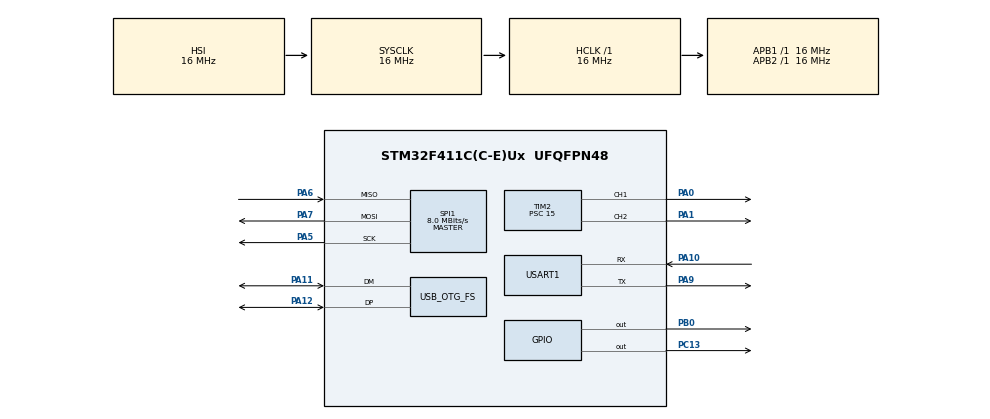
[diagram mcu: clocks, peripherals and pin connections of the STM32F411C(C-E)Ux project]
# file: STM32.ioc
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Mcu.Family=STM32F4
Mcu.Name=STM32F411C(C-E)Ux
Mcu.Package=UFQFPN48
NVIC.OTG_FS_IRQn=true\:0\:0\:false\:false\:true\:false\:true\:true
NVIC.PriorityGroup=NVIC_PRIORITYGROUP_4
PA0-WKUP.Signal=S_TIM2_CH1_ETR
PA1.Signal=S_TIM2_CH2
PA10.Mode=Asynchronous
PA10.Signal=USART1_RX
PA11.Mode=Device_Only
PA11.Signal=USB_OTG_FS_DM
PA12.Mode=Device_Only
PA12.Signal=USB_OTG_FS_DP
PA5.Mode=Full_Duplex_Master
PA5.Signal=SPI1_SCK
PA6.Mode=Full_Duplex_Master
PA6.Signal=SPI1_MISO
PA7.Mode=Full_Duplex_Master
PA7.Signal=SPI1_MOSI
PA9.Mode=Asynchronous
PA9.Signal=USART1_TX
PB0.PinState=GPIO_PIN_SET
PB0.Signal=GPIO_Output
PC13-ANTI_TAMP.Signal=GPIO_Output
PH0\ -\ OSC_IN.Mode=HSE-External-Oscillator
PH0\ -\ OSC_IN.Signal=RCC_OSC_IN
PH1\ -\ OSC_OUT.Mode=HSE-External-Oscillator
PH1\ -\ OSC_OUT.Signal=RCC_OSC_OUT
ProjectManager.HeapSize=0x200
ProjectManager.StackSize=0x400
ProjectManager.TargetToolchain=STM32CubeIDE
RCC.48MHZClocksFreq_Value=48000000
RCC.AHBFreq_Value=16000000
RCC.APB1Freq_Value=16000000
RCC.APB2Freq_Value=16000000
RCC.CortexFreq_Value=16000000
RCC.HSE_VALUE=25000000
RCC.HSI_VALUE=16000000
RCC.LSE_VALUE=32768
RCC.PLLM=15
RCC.PLLN=144
RCC.PLLQ=5
RCC.SYSCLKFreq_VALUE=16000000
RCC.VCOOutputFreq_Value=240000000
SH.S_TIM2_CH1_ETR.0=TIM2_CH1,PWM Generation1 CH1
SH.S_TIM2_CH2.0=TIM2_CH2,PWM Generation2 CH2
SPI1.BaudRatePrescaler=SPI_BAUDRATEPRESCALER_2
SPI1.CLKPhase=SPI_PHASE_1EDGE
SPI1.CLKPolarity=SPI_POLARITY_LOW
SPI1.CalculateBaudRate=8.0 MBits/s
SPI1.Direction=SPI_DIRECTION_2LINES
SPI1.Mode=SPI_MODE_MASTER
SPI1.VirtualType=VM_MASTER
TIM2.AutoReloadPreload=TIM_AUTORELOAD_PRELOAD_ENABLE
TIM2.Channel-PWM\ Generation1\ CH1=TIM_CHANNEL_1
TIM2.Channel-PWM\ Generation2\ CH2=TIM_CHANNEL_2
TIM2.Period=19999
TIM2.Prescaler=15
TIM2.Pulse-PWM\ Generation1\ CH1=1500
USART1.VirtualMode=VM_ASYNC
USB_DEVICE.CLASS_NAME_FS=CDC
USB_DEVICE.VirtualMode=Cdc
USB_DEVICE.VirtualModeFS=Cdc_FS
USB_OTG_FS.VirtualMode=Device_Only
VP_TIM2_VS_ClockSourceINT.Mode=Internal
VP_USB_DEVICE_VS_USB_DEVICE_CDC_FS.Mode=CDC_FS
board=custom

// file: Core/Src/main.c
/* USER CODE BEGIN Header */
/**
  ******************************************************************************
  * @file           : main.c
  * @brief          : Main program body — ICM-45686 reaction-wheel bicycle balancer
  ******************************************************************************
  * @attention
  *
  * Copyright (c) 2026 STMicroelectronics.
  * All rights reserved.
  *
  * This software is licensed under terms that can be found in the LICENSE file
  * in the root directory of this software component.
  * If no LICENSE file comes with this software, it is provided AS-IS.
  *
  ******************************************************************************
  */
/* USER CODE END Header */
#include "main.h"
#include "usb_device.h"

/* USER CODE BEGIN Includes */
#include <string.h>
#include <stdio.h>
#include <math.h>
#include <stdlib.h>
#include "usbd_cdc_if.h"

#define CS_LOW()  HAL_GPIO_WritePin(GPIOB, GPIO_PIN_0, GPIO_PIN_RESET)
#define CS_HIGH() HAL_GPIO_WritePin(GPIOB, GPIO_PIN_0, GPIO_PIN_SET)

#define ICM45686_REG_DATA_BASE        0x00
#define ICM45686_REG_PWR_MGMT0        0x10
#define ICM45686_REG_INT1_CONFIG0     0x16
#define ICM45686_REG_INT1_STATUS0     0x19
#define ICM45686_REG_ACCEL_CONFIG0    0x1B
#define ICM45686_REG_GYRO_CONFIG0     0x1C
#define ICM45686_REG_WHO_AM_I         0x72
#define ICM45686_REG_IREG_ADDR_15_8   0x7C
#define ICM45686_REG_IREG_ADDR_7_0    0x7D
#define ICM45686_REG_IREG_DATA        0x7E
#define ICM45686_SREG_CTRL_ADDR_H     0xA2
#define ICM45686_SREG_CTRL_ADDR_L     0x67
#define ICM45686_SREG_DATA_BIG_ENDIAN (1u << 1)
#define ICM45686_WHOAMI_VALUE         0xE9
#define ICM45686_ACCEL_2G_200HZ       0x48
#define ICM45686_GYRO_125DPS_200HZ    0x58
#define ICM45686_PWR_ACCEL_GYRO_LN    0x0F
#define ICM45686_INT1_CFG_EN_DRDY     (1u << 2)
#define ICM45686_INT1_STATUS_DRDY     (1u << 2)

#define ENCODE4(v, sign_c, whole_i, frac_i) do { \
    (sign_c)  = ((v) < 0.0f) ? '-' : '+';         \
    int _m    = (int)(fabsf(v) * 10000.0f);        \
    (whole_i) = _m / 10000;                        \
    (frac_i)  = _m % 10000;                        \
} while (0)

#define USB_RX_BUF_SIZE  128
/* USER CODE END Includes */

SPI_HandleTypeDef hspi1;
TIM_HandleTypeDef htim2;
UART_HandleTypeDef huart1;

/* USER CODE BEGIN PV */
volatile uint8_t  usb_rx_buf[USB_RX_BUF_SIZE];
volatile uint16_t usb_rx_head = 0;
volatile uint16_t usb_rx_tail = 0;

static char       usb_line[64];
static uint8_t    usb_line_idx = 0;
/* USER CODE END PV */

void SystemClock_Config(void);
static void MX_GPIO_Init(void);
static void MX_USART1_UART_Init(void);
static void MX_SPI1_Init(void);
static void MX_TIM2_Init(void);

/* USER CODE BEGIN 0 */

void USB_RxCallback(uint8_t *buf, uint32_t len)
{
    for (uint32_t i = 0; i < len; i++)
    {
        uint16_t next = (usb_rx_head + 1) % USB_RX_BUF_SIZE;
        if (next != usb_rx_tail)
        {
            usb_rx_buf[usb_rx_head] = buf[i];
            usb_rx_head = next;
        }
    }
}

void ODESC_Send(char *cmd)
{
    HAL_UART_Transmit(&huart1, (uint8_t*)cmd, strlen(cmd), 5);
}

void USB_Print(char *msg)
{
    CDC_Transmit_FS((uint8_t*)msg, strlen(msg));
}

void IMU_Write(uint8_t reg, uint8_t data)
{
    uint8_t tx[2] = { reg & 0x7F, data };
    CS_LOW();
    HAL_SPI_Transmit(&hspi1, tx, 2, HAL_MAX_DELAY);
    CS_HIGH();
}

uint8_t IMU_Read(uint8_t reg)
{
    uint8_t tx[2] = { reg | 0x80, 0x00 };
    uint8_t rx[2] = {0};
    CS_LOW();
    HAL_SPI_TransmitReceive(&hspi1, tx, rx, 2, HAL_MAX_DELAY);
    CS_HIGH();
    return rx[1];
}

void IMU_ReadMulti(uint8_t reg, uint8_t *buf, uint8_t len)
{
    uint8_t tx[len + 1];
    uint8_t rx[len + 1];
    tx[0] = reg | 0x80;
    memset(tx + 1, 0x00, len);
    CS_LOW();
    HAL_SPI_TransmitReceive(&hspi1, tx, rx, len + 1, HAL_MAX_DELAY);
    CS_HIGH();
    memcpy(buf, rx + 1, len);
}

void IMU_WriteIREG(uint8_t addr_h, uint8_t addr_l, uint8_t data)
{
    uint8_t tx[4];
    tx[0] = ICM45686_REG_IREG_ADDR_15_8 & 0x7F;
    tx[1] = addr_h;
    tx[2] = addr_l;
    tx[3] = data;
    CS_LOW();
    HAL_SPI_Transmit(&hspi1, tx, 4, HAL_MAX_DELAY);
    CS_HIGH();
    HAL_Delay(1);
}

void IMU_Init(void)
{
    HAL_Delay(10);
    uint8_t who = IMU_Read(ICM45686_REG_WHO_AM_I);
    if (who != ICM45686_WHOAMI_VALUE) return;

    IMU_WriteIREG(ICM45686_SREG_CTRL_ADDR_H,
                  ICM45686_SREG_CTRL_ADDR_L,
                  ICM45686_SREG_DATA_BIG_ENDIAN);

    uint8_t int1_cfg0 = IMU_Read(ICM45686_REG_INT1_CONFIG0);
    int1_cfg0 |= ICM45686_INT1_CFG_EN_DRDY;
    IMU_Write(ICM45686_REG_INT1_CONFIG0, int1_cfg0);

    IMU_Write(ICM45686_REG_ACCEL_CONFIG0, ICM45686_ACCEL_2G_200HZ);
    IMU_Write(ICM45686_REG_GYRO_CONFIG0,  ICM45686_GYRO_125DPS_200HZ);
    IMU_Write(ICM45686_REG_PWR_MGMT0,     ICM45686_PWR_ACCEL_GYRO_LN);

    HAL_Delay(50);
}

#define GYRO_LSB_PER_DPS  262.0f
#define ACCEL_SENS        16384.0f
#define DEG2RAD           0.01745329251f
#define DT                0.005f

#define CF_ALPHA          0.9995f
#define GYRO_LPF_ALPHA    0.1f
#define FALL_LIMIT        0.1f

static float angle       = 0.0f;
static float gy_bias     = 0.0f;
static float gy_filtered = 0.0f;
static float setpoint    = 0.0f;

float Kp = 650.0f;
float Ki = 0.0f;
float Kd = 80.0f;

static float integral = 0.0f;
#define INTEGRAL_LIMIT  1.0f
#define MAX_TORQUE      7.0f

#define OUTER_INTERVAL_TICKS  10
#define SETPOINT_LIMIT        1.0f
#define TORQUE_DEADBAND       0.0f
#define SETPOINT_SLEW_RATE    0.0001f

float K_outer = 0.01f;

static float torque_sum = 0.0f;

#define VBUS_INTERVAL_TICKS   2000
#define VBUS_LOW_THRESHOLD    20.0f
#define BLINK_PERIOD_TICKS    25

static uint8_t  vbus_low   = 0;
static uint32_t blink_tick = 0;

float clamp(float x, float min, float max)
{
    if (x < min) return min;
    if (x > max) return max;
    return x;
}

void IMU_CalibrateGyro(void)
{
    int32_t sum = 0;
    const int samples = 500;
    for (int i = 0; i < samples; i++)
    {
        uint8_t buf[14];
        IMU_ReadMulti(ICM45686_REG_DATA_BASE, buf, 14);
        int16_t gy = (int16_t)((buf[8] << 8) | buf[9]);
        sum += gy;
        HAL_Delay(2);
    }
    gy_bias = (float)sum / samples;
}

void IMU_InitAngle(void)
{
    const int samples = 500;
    float angle_sum = 0.0f;
    for (int i = 0; i < samples; i++)
    {
        uint8_t buf[14];
        IMU_ReadMulti(ICM45686_REG_DATA_BASE, buf, 14);
        int16_t ax_raw = (int16_t)((buf[0] << 8) | buf[1]);
        int16_t az_raw = (int16_t)((buf[4] << 8) | buf[5]);
        float ax_g = ax_raw / ACCEL_SENS;
        float az_g = az_raw / ACCEL_SENS;
        angle_sum += atan2f(ax_g, az_g);
        HAL_Delay(2);
    }
    angle = angle_sum / samples;
}

void ODESC_InitTorqueMode(void)
{
    ODESC_Send("w axis0.controller.config.vel_limit 35\n");   HAL_Delay(10);
    ODESC_Send("w axis0.controller.config.control_mode 1\n"); HAL_Delay(10);
    ODESC_Send("w axis0.controller.config.input_mode 1\n");   HAL_Delay(10);
    ODESC_Send("w axis0.requested_state 8\n");                HAL_Delay(100);
}

float ODESC_GetVBus(void)
{
    uint8_t flush;
    while (HAL_UART_Receive(&huart1, &flush, 1, 1) == HAL_OK);

    ODESC_Send("r vbus_voltage\n");

    char resp[32] = {0};
    uint8_t c;
    uint8_t idx = 0;
    uint32_t deadline = HAL_GetTick() + 10;
    while (HAL_GetTick() < deadline && idx < sizeof(resp) - 1)
    {
        if (HAL_UART_Receive(&huart1, &c, 1, 1) == HAL_OK)
        {
            if (c == '\n') break;
            resp[idx++] = c;
        }
    }
    char *end;
    return strtof(resp, &end);
}

float ODESC_GetFloat(const char *request)
{
    uint8_t flush;
    while (HAL_UART_Receive(&huart1, &flush, 1, 1) == HAL_OK);

    ODESC_Send((char *)request);

    char resp[32] = {0};
    uint8_t c;
    uint8_t idx = 0;
    uint32_t deadline = HAL_GetTick() + 10;
    while (HAL_GetTick() < deadline && idx < sizeof(resp) - 1)
    {
        if (HAL_UART_Receive(&huart1, &c, 1, 1) == HAL_OK)
        {
            if (c == '\n') break;
            resp[idx++] = c;
        }
    }
    char *end;
    float val = strtof(resp, &end);
    return (end != resp) ? val : 0.0f;
}

static float servo_poly_raw(float x)
{
    float x2 = x * x;
    float x3 = x2 * x;
    float x4 = x3 * x;
    return 8.21f
         + (-0.0189f)     * x
         + 1.59e-5f       * x2
         + (-5.79e-9f)    * x3
         + 7.69e-13f      * x4;
}

static float servo_poly_shift = 0.0f;

static void servo_poly_init(void)
{
    servo_poly_shift = servo_poly_raw(1500.0f);
}

static float servo_poly(float x)
{
    return servo_poly_raw(x) - servo_poly_shift;
}

static float servo_signed_offset(uint32_t pw)
{
    float epw = (float)pw + 25.0f;
    if (epw >= 1500.0f)
        return -servo_poly(epw);
    else
        return servo_poly(3000.0f - epw);
}

static uint32_t prev_servo_pw = 1475;

static void set_motor_pwm(uint32_t pw)
{
    if (pw < 775)  pw = 775;
    if (pw > 2175) pw = 2175;
    __HAL_TIM_SET_COMPARE(&htim2, TIM_CHANNEL_2, pw);
}

static void set_servo_pwm(uint32_t pw)
{
    if (pw < 1100) pw = 1100;
    if (pw > 1900) pw = 1900;

    __HAL_TIM_SET_COMPARE(&htim2, TIM_CHANNEL_1, pw);

    if (pw == prev_servo_pw)
        return;

    float delta = servo_signed_offset(pw) - servo_signed_offset(prev_servo_pw);
    setpoint = clamp(setpoint + delta, -SETPOINT_LIMIT, SETPOINT_LIMIT);
    prev_servo_pw = pw;
}

static void process_usb_line(char *line)
{
    if (line[0] == 'M' || line[0] == 'm')
    {
        uint32_t pw = (uint32_t)atoi(line + 1);
        set_motor_pwm(pw);
    }
    else if (line[0] == 'S' || line[0] == 's')
    {
        uint32_t pw = (uint32_t)atoi(line + 1);
        set_servo_pwm(pw);
    }
}

static void poll_usb_rx(void)
{
    while (usb_rx_tail != usb_rx_head)
    {
        uint8_t c = usb_rx_buf[usb_rx_tail];
        usb_rx_tail = (usb_rx_tail + 1) % USB_RX_BUF_SIZE;

        if (c == '\n' || c == '\r')
        {
            if (usb_line_idx > 0)
            {
                usb_line[usb_line_idx] = '\0';
                process_usb_line(usb_line);
                usb_line_idx = 0;
            }
        }
        else if (usb_line_idx < (sizeof(usb_line) - 1))
        {
            usb_line[usb_line_idx++] = (char)c;
        }
    }
}

/* USER CODE END 0 */

int main(void)
{

  HAL_Init();

  SystemClock_Config();

  MX_GPIO_Init();
  MX_USART1_UART_Init();
  MX_USB_DEVICE_Init();
  MX_SPI1_Init();
  MX_TIM2_Init();

  /* USER CODE BEGIN 2 */
  HAL_TIM_PWM_Start(&htim2, TIM_CHANNEL_1);
  HAL_TIM_PWM_Start(&htim2, TIM_CHANNEL_2);

  __HAL_TIM_SET_COMPARE(&htim2, TIM_CHANNEL_1, 1475);
  __HAL_TIM_SET_COMPARE(&htim2, TIM_CHANNEL_2, 1475);

  servo_poly_init();
  IMU_Init();
  IMU_CalibrateGyro();
  IMU_InitAngle();
  ODESC_InitTorqueMode();

  static uint32_t outer_tick = 0;
  static uint32_t vbus_tick  = 0;
  /* USER CODE END 2 */

  /* USER CODE BEGIN WHILE */
  while(1)
  {
        poll_usb_rx();

        uint8_t status = IMU_Read(ICM45686_REG_INT1_STATUS0);
        if (!(status & ICM45686_INT1_STATUS_DRDY))
            continue;

        uint8_t buf[14];
        IMU_ReadMulti(ICM45686_REG_DATA_BASE, buf, 14);

        int16_t ax_raw = (int16_t)((buf[0] << 8) | buf[1]);
        int16_t az_raw = (int16_t)((buf[4] << 8) | buf[5]);
        float ax_g = ax_raw / ACCEL_SENS;
        float az_g = az_raw / ACCEL_SENS;

        int16_t gy_raw = (int16_t)((buf[8] << 8) | buf[9]);
        float gy_dps  = ((float)gy_raw - gy_bias) / GYRO_LSB_PER_DPS;
        float gy_rad  = gy_dps * DEG2RAD;

        gy_filtered = GYRO_LPF_ALPHA * gy_rad + (1.0f - GYRO_LPF_ALPHA) * gy_filtered;

        float accel_angle = atan2f(ax_g, az_g);
        angle = CF_ALPHA * (angle + gy_rad * DT) - (1.0f - CF_ALPHA) * accel_angle;

        if (fabsf(angle) > FALL_LIMIT)
        {
            ODESC_Send("c 0 0.000\n");
            integral    = 0.0f;
            gy_filtered = 0.0f;
            torque_sum  = 0.0f;
            outer_tick  = 0;
            continue;
        }

        float error = setpoint - angle;
        integral = clamp(integral + error * DT, -INTEGRAL_LIMIT, INTEGRAL_LIMIT);
        float output = (Kp * error) + (Ki * integral) - (Kd * gy_filtered);
        output = clamp(output, -MAX_TORQUE, MAX_TORQUE);

        int torque_milli = (int)(output * 1000.0f);
        int torque_abs   = abs(torque_milli);
        char cmd[32];
        if (torque_milli < 0)
            snprintf(cmd, sizeof(cmd), "c 0 -%d.%03d\n",
                     torque_abs / 1000, torque_abs % 1000);
        else
            snprintf(cmd, sizeof(cmd), "c 0 %d.%03d\n",
                     torque_abs / 1000, torque_abs % 1000);
        ODESC_Send(cmd);

        torque_sum += output;
        outer_tick++;
        if (outer_tick >= OUTER_INTERVAL_TICKS)
        {
            float avg_torque = torque_sum / outer_tick;
            torque_sum = 0.0f;
            outer_tick = 0;

            if (fabsf(avg_torque) > TORQUE_DEADBAND)
            {
                float correction = K_outer * avg_torque;
                correction = clamp(correction, -SETPOINT_SLEW_RATE, SETPOINT_SLEW_RATE);
                setpoint  += correction;
                setpoint   = clamp(setpoint, -SETPOINT_LIMIT, SETPOINT_LIMIT);
            }
        }

        vbus_tick++;
        if (vbus_tick >= VBUS_INTERVAL_TICKS)
        {
            vbus_tick = 0;
            float vbus = ODESC_GetVBus();
            vbus_low = (vbus > 0.0f && vbus < VBUS_LOW_THRESHOLD) ? 1 : 0;
        }

        blink_tick++;
        if (!vbus_low)
        {
            HAL_GPIO_WritePin(GPIOC, GPIO_PIN_13, GPIO_PIN_SET);
            blink_tick = 0;
        }
        else if (blink_tick >= BLINK_PERIOD_TICKS)
        {
            blink_tick = 0;
            HAL_GPIO_TogglePin(GPIOC, GPIO_PIN_13);
        }
    /* USER CODE END WHILE */

  }
}

void SystemClock_Config(void)
{
  RCC_OscInitTypeDef RCC_OscInitStruct = {0};
  RCC_ClkInitTypeDef RCC_ClkInitStruct = {0};

  __HAL_RCC_PWR_CLK_ENABLE();
  __HAL_PWR_VOLTAGESCALING_CONFIG(PWR_REGULATOR_VOLTAGE_SCALE1);

  RCC_OscInitStruct.OscillatorType = RCC_OSCILLATORTYPE_HSI|RCC_OSCILLATORTYPE_HSE;
  RCC_OscInitStruct.HSEState = RCC_HSE_ON;
  RCC_OscInitStruct.HSIState = RCC_HSI_ON;
  RCC_OscInitStruct.HSICalibrationValue = RCC_HSICALIBRATION_DEFAULT;
  RCC_OscInitStruct.PLL.PLLState = RCC_PLL_ON;
  RCC_OscInitStruct.PLL.PLLSource = RCC_PLLSOURCE_HSE;
  RCC_OscInitStruct.PLL.PLLM = 15;
  RCC_OscInitStruct.PLL.PLLN = 144;
  RCC_OscInitStruct.PLL.PLLP = RCC_PLLP_DIV2;
  RCC_OscInitStruct.PLL.PLLQ = 5;
  if (HAL_RCC_OscConfig(&RCC_OscInitStruct) != HAL_OK)
  {
    Error_Handler();
  }

  RCC_ClkInitStruct.ClockType = RCC_CLOCKTYPE_HCLK|RCC_CLOCKTYPE_SYSCLK
                              |RCC_CLOCKTYPE_PCLK1|RCC_CLOCKTYPE_PCLK2;
  RCC_ClkInitStruct.SYSCLKSource = RCC_SYSCLKSOURCE_HSI;
  RCC_ClkInitStruct.AHBCLKDivider = RCC_SYSCLK_DIV1;
  RCC_ClkInitStruct.APB1CLKDivider = RCC_HCLK_DIV1;
  RCC_ClkInitStruct.APB2CLKDivider = RCC_HCLK_DIV1;

  if (HAL_RCC_ClockConfig(&RCC_ClkInitStruct, FLASH_LATENCY_0) != HAL_OK)
  {
    Error_Handler();
  }
}

static void MX_SPI1_Init(void)
{
  hspi1.Instance = SPI1;
  hspi1.Init.Mode = SPI_MODE_MASTER;
  hspi1.Init.Direction = SPI_DIRECTION_2LINES;
  hspi1.Init.DataSize = SPI_DATASIZE_8BIT;
  hspi1.Init.CLKPolarity = SPI_POLARITY_LOW;
  hspi1.Init.CLKPhase = SPI_PHASE_1EDGE;
  hspi1.Init.NSS = SPI_NSS_SOFT;
  hspi1.Init.BaudRatePrescaler = SPI_BAUDRATEPRESCALER_2;
  hspi1.Init.FirstBit = SPI_FIRSTBIT_MSB;
  hspi1.Init.TIMode = SPI_TIMODE_DISABLE;
  hspi1.Init.CRCCalculation = SPI_CRCCALCULATION_DISABLE;
  hspi1.Init.CRCPolynomial = 10;
  if (HAL_SPI_Init(&hspi1) != HAL_OK)
  {
    Error_Handler();
  }
}

static void MX_TIM2_Init(void)
{
  TIM_ClockConfigTypeDef sClockSourceConfig = {0};
  TIM_MasterConfigTypeDef sMasterConfig = {0};
  TIM_OC_InitTypeDef sConfigOC = {0};

  htim2.Instance = TIM2;
  htim2.Init.Prescaler = 15;
  htim2.Init.CounterMode = TIM_COUNTERMODE_UP;
  htim2.Init.Period = 19999;
  htim2.Init.ClockDivision = TIM_CLOCKDIVISION_DIV1;
  htim2.Init.AutoReloadPreload = TIM_AUTORELOAD_PRELOAD_ENABLE;
  if (HAL_TIM_Base_Init(&htim2) != HAL_OK)
  {
    Error_Handler();
  }
  sClockSourceConfig.ClockSource = TIM_CLOCKSOURCE_INTERNAL;
  if (HAL_TIM_ConfigClockSource(&htim2, &sClockSourceConfig) != HAL_OK)
  {
    Error_Handler();
  }
  if (HAL_TIM_PWM_Init(&htim2) != HAL_OK)
  {
    Error_Handler();
  }
  sMasterConfig.MasterOutputTrigger = TIM_TRGO_RESET;
  sMasterConfig.MasterSlaveMode = TIM_MASTERSLAVEMODE_DISABLE;
  if (HAL_TIMEx_MasterConfigSynchronization(&htim2, &sMasterConfig) != HAL_OK)
  {
    Error_Handler();
  }
  sConfigOC.OCMode = TIM_OCMODE_PWM1;
  sConfigOC.Pulse = 1475;
  sConfigOC.OCPolarity = TIM_OCPOLARITY_HIGH;
  sConfigOC.OCFastMode = TIM_OCFAST_DISABLE;
  if (HAL_TIM_PWM_ConfigChannel(&htim2, &sConfigOC, TIM_CHANNEL_1) != HAL_OK)
  {
    Error_Handler();
  }
  sConfigOC.Pulse = 1475;
  if (HAL_TIM_PWM_ConfigChannel(&htim2, &sConfigOC, TIM_CHANNEL_2) != HAL_OK)
  {
    Error_Handler();
  }
  HAL_TIM_MspPostInit(&htim2);
}

static void MX_USART1_UART_Init(void)
{
  huart1.Instance = USART1;
  huart1.Init.BaudRate = 115200;
  huart1.Init.WordLength = UART_WORDLENGTH_8B;
  huart1.Init.StopBits = UART_STOPBITS_1;
  huart1.Init.Parity = UART_PARITY_NONE;
  huart1.Init.Mode = UART_MODE_TX_RX;
  huart1.Init.HwFlowCtl = UART_HWCONTROL_NONE;
  huart1.Init.OverSampling = UART_OVERSAMPLING_16;
  if (HAL_UART_Init(&huart1) != HAL_OK)
  {
    Error_Handler();
  }
}

static void MX_GPIO_Init(void)
{
  GPIO_InitTypeDef GPIO_InitStruct = {0};

  __HAL_RCC_GPIOC_CLK_ENABLE();
  __HAL_RCC_GPIOH_CLK_ENABLE();
  __HAL_RCC_GPIOA_CLK_ENABLE();
  __HAL_RCC_GPIOB_CLK_ENABLE();

  HAL_GPIO_WritePin(GPIOC, GPIO_PIN_13, GPIO_PIN_RESET);
  HAL_GPIO_WritePin(GPIOB, GPIO_PIN_0, GPIO_PIN_SET);

  GPIO_InitStruct.Pin = GPIO_PIN_13;
  GPIO_InitStruct.Mode = GPIO_MODE_OUTPUT_PP;
  GPIO_InitStruct.Pull = GPIO_NOPULL;
  GPIO_InitStruct.Speed = GPIO_SPEED_FREQ_LOW;
  HAL_GPIO_Init(GPIOC, &GPIO_InitStruct);

  GPIO_InitStruct.Pin = GPIO_PIN_0;
  GPIO_InitStruct.Mode = GPIO_MODE_OUTPUT_PP;
  GPIO_InitStruct.Pull = GPIO_NOPULL;
  GPIO_InitStruct.Speed = GPIO_SPEED_FREQ_LOW;
  HAL_GPIO_Init(GPIOB, &GPIO_InitStruct);
}

void Error_Handler(void)
{
  __disable_irq();
  while (1)
  {
  }
}
